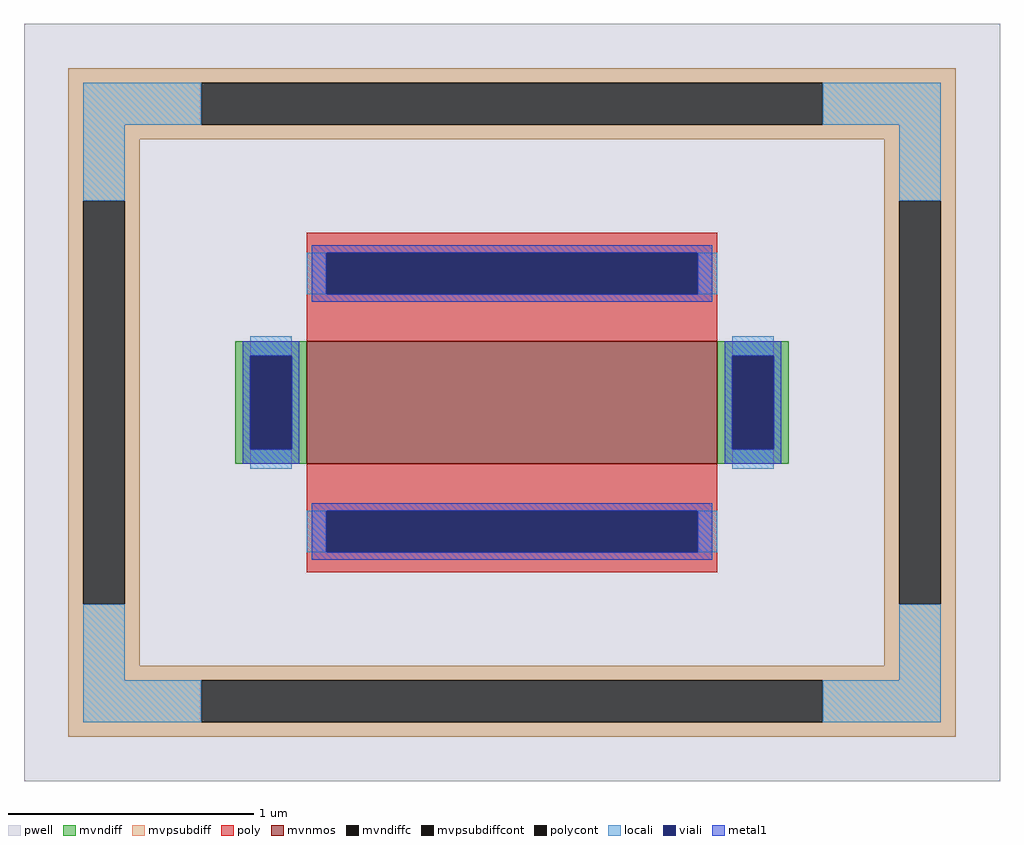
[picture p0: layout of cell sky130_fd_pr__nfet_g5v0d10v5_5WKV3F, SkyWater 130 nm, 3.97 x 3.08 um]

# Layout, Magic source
magic
tech sky130A
magscale 1 2
<< pwell >>
rect -397 -308 397 308
<< mvnmos >>
rect -167 -50 167 50
<< mvndiff >>
rect -225 38 -167 50
rect -225 -38 -213 38
rect -179 -38 -167 38
rect -225 -50 -167 -38
rect 167 38 225 50
rect 167 -38 179 38
rect 213 -38 225 38
rect 167 -50 225 -38
<< mvndiffc >>
rect -213 -38 -179 38
rect 179 -38 213 38
<< mvpsubdiff >>
rect -361 260 361 272
rect -361 226 -253 260
rect 253 226 361 260
rect -361 214 361 226
rect -361 164 -303 214
rect -361 -164 -349 164
rect -315 -164 -303 164
rect 303 164 361 214
rect -361 -214 -303 -164
rect 303 -164 315 164
rect 349 -164 361 164
rect 303 -214 361 -164
rect -361 -226 361 -214
rect -361 -260 -253 -226
rect 253 -260 361 -226
rect -361 -272 361 -260
<< mvpsubdiffcont >>
rect -253 226 253 260
rect -349 -164 -315 164
rect 315 -164 349 164
rect -253 -260 253 -226
<< poly >>
rect -167 122 167 138
rect -167 88 -151 122
rect 151 88 167 122
rect -167 50 167 88
rect -167 -88 167 -50
rect -167 -122 -151 -88
rect 151 -122 167 -88
rect -167 -138 167 -122
<< polycont >>
rect -151 88 151 122
rect -151 -122 151 -88
<< locali >>
rect -349 226 -253 260
rect 253 226 349 260
rect -349 164 -315 226
rect 315 164 349 226
rect -167 88 -151 122
rect 151 88 167 122
rect -213 38 -179 54
rect -213 -54 -179 -38
rect 179 38 213 54
rect 179 -54 213 -38
rect -167 -122 -151 -88
rect 151 -122 167 -88
rect -349 -226 -315 -164
rect 315 -226 349 -164
rect -349 -260 -253 -226
rect 253 -260 349 -226
<< viali >>
rect -151 88 151 122
rect -213 -38 -179 38
rect 179 -38 213 38
rect -151 -122 151 -88
<< metal1 >>
rect -163 122 163 128
rect -163 88 -151 122
rect 151 88 163 122
rect -163 82 163 88
rect -219 38 -173 50
rect -219 -38 -213 38
rect -179 -38 -173 38
rect -219 -50 -173 -38
rect 173 38 219 50
rect 173 -38 179 38
rect 213 -38 219 38
rect 173 -50 219 -38
rect -163 -88 163 -82
rect -163 -122 -151 -88
rect 151 -122 163 -88
rect -163 -128 163 -122
<< properties >>
string FIXED_BBOX -332 -243 332 243
string gencell sky130_fd_pr__nfet_g5v0d10v5
string library sky130
string parameters w 0.5 l 1.67 m 1 nf 1 diffcov 100 polycov 100 guard 1 glc 1 grc 1 gtc 1 gbc 1 tbcov 100 rlcov 100 topc 1 botc 1 poverlap 0 doverlap 1 lmin 0.50 wmin 0.42 class mosfet compatible {sky130_fd_pr__nfet_01v8 sky130_fd_pr__nfet_01v8_lvt  sky130_fd_bs_flash__special_sonosfet_star  sky130_fd_pr__nfet_g5v0d10v5 sky130_fd_pr__nfet_05v0_nvt  sky130_fd_pr__nfet_03v3_nvt} full_metal 1 conn_gates 0 viasrc 100 viadrn 100 viagate 100 viagb 0 viagr 0 viagl 0 viagt 0 doports 1
<< end >>
